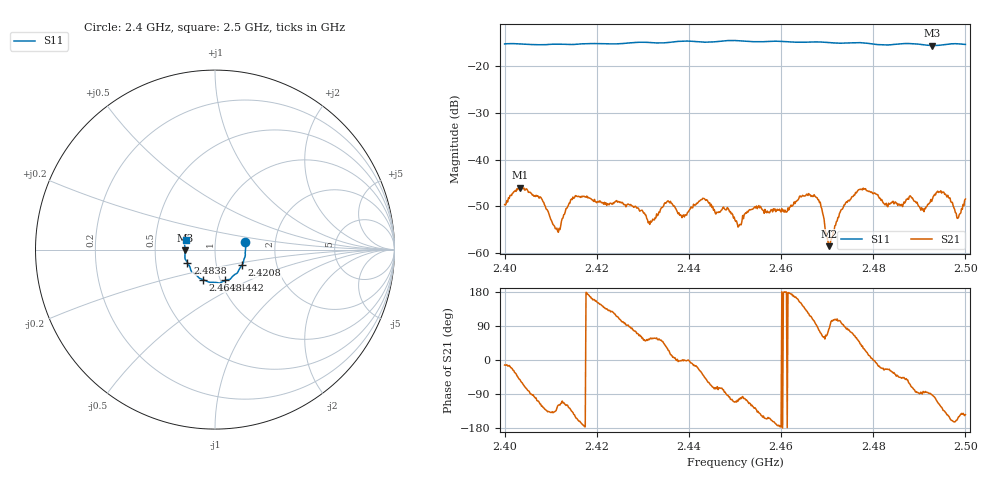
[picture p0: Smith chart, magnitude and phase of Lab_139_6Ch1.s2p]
# Hz S RI R 50
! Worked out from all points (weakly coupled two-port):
!   601 points, 2.4 GHz to 2.5 GHz, reference 50 ohm
!   highest |S21| = -46.01 dB at 2.4033 GHz (marker M1); lowest = -58.5 dB at 2.4705 GHz (marker M2)
!   lowest |S11| = -15.6 dB at 2.4928 GHz (marker M3), VSWR 1.40, Z = 35.8 - j0.368 ohm
!   |S11| at or under -10 dB: start of sweep to end of sweep
!   S12 and S22 are empty: the file has one direction only
!   S11 on the Smith chart (normalised r, x): 2.4 GHz: 1.40, +0.12; 2.4208 GHz: 1.33, -0.24; 2.4442 GHz: 1.05, -0.37; 2.4648 GHz: 0.83, -0.29; 2.4838 GHz: 0.73, -0.11; 2.5 GHz: 0.72, +0.08
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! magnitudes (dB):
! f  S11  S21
! 2.4 GHz  -15.3  -49.6
! 2.4033 GHz  -15.2  -46.0
! 2.408 GHz  -15.4  -48.3
! 2.4115 GHz  -15.3  -55.3
! 2.4143 GHz  -15.4  -48.6
! 2.4167 GHz  -15.2  -47.8
! 2.4208 GHz  -15.2  -49.0
! 2.4333 GHz  -15.0  -51.8
! 2.4442 GHz  -14.9  -49.1
! 2.45 GHz  -14.5  -53.0
! 2.4648 GHz  -14.9  -47.7
! 2.4667 GHz  -14.8  -47.7
! 2.4683 GHz  -14.8  -49.2
! 2.4705 GHz  -15.0  -58.5
! 2.4732 GHz  -15.1  -50.7
! 2.4767 GHz  -15.0  -46.6
! 2.4833 GHz  -15.5  -49.3
! 2.4838 GHz  -15.4  -49.3
! 2.4928 GHz  -15.6  -48.4
! 2.4952 GHz  -15.4  -46.9
! 2.4983 GHz  -15.2  -52.6
! 2.5 GHz  -15.4  -48.4
